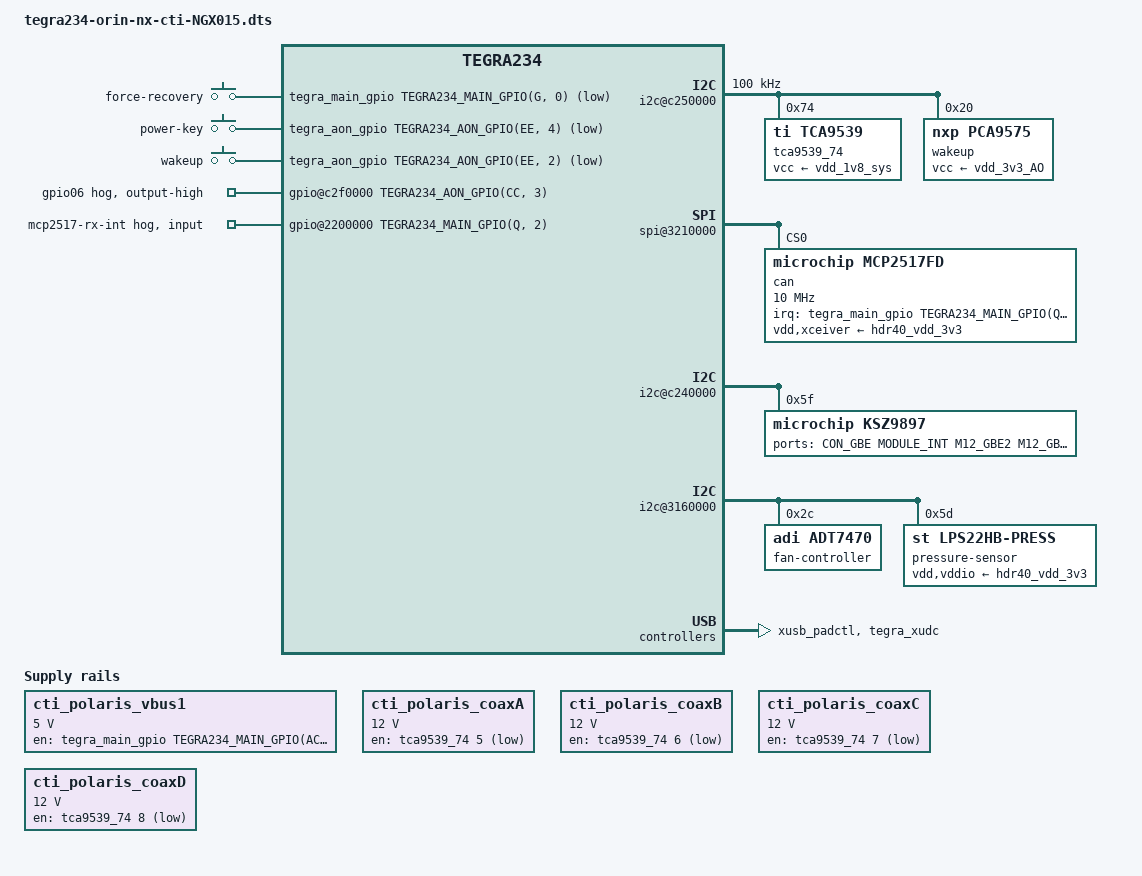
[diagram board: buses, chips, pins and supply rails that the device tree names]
/*
 * Copyright (c) 2023, Connect Tech Inc.  All rights reserved.
 *
 * This program is free software; you can redistribute it and/or modify it
 * under the terms and conditions of the GNU General Public License,
 * version 2, as published by the Free Software Foundation.
 *
 * This program is distributed in the hope it will be useful, but WITHOUT
 * ANY WARRANTY; without even the implied warranty of MERCHANTABILITY or
 * FITNESS FOR A PARTICULAR PURPOSE.  See the GNU General Public License for
 * more details.
 *
 * You should have received a copy of the GNU General Public License
 * along with this program.  If not, see <http://www.gnu.org/licenses/>.
 */

#include "tegra234-orin-nx-cti-base.dtsi"

/{
    nvidia,dtsfilename = "tegra234-orin-nx-cti-NGX015.dts";

    clocks-init {
        status = "okay";
    };
     
    tachometer@39c0000 {
        status = "disabled";
    };
    pwm-fan {
        status = "disabled";
    };
    can_clock: can_clock{
        compatible = "fixed-clock";
        #clock-cells = <0>;
        clock-frequency = <20000000>;
        clock-accuracy = <100>;
    };

    i2c@c250000 {
        status="okay";
        clock-frequency = <100000>;
        tca9539_74: tca9539@74 {
            compatible = "ti,tca9539";
            gpio-controller;
            #gpio-cells = <2>;
            reg = <0x74>;
            vcc-supply = <&vdd_1v8_sys>;
            status = "okay";
         };
        /** define wakeup for gpio10*/
        wakeup: gpio16@20{
                    compatible="nxp,pca9575";
                    status="okay";
                    reg = <0x20>;

                    gpio-controller;
                    #gpio-cells=<2>;
                    #address-cells = <1>;
                    #size-cells=<0>;
                    vcc-supply = <&vdd_3v3_AO>;

        };
    };

    fixed-regulators{
        /delete-node/ cti_usb_vbus;
        cti_polaris_vbus1: regulator@201 {
            compatible = "regulator-fixed";
            reg=<201>;
            regulator-name = "cti-polaris-otg-vbus";
            regulator-min-microvolt = <5000000>;
            regulator-max-microvolt = <5000000>;
            gpio = <&tegra_main_gpio TEGRA234_MAIN_GPIO(AC, 6) 0>;
            enable-active-high;
            regulator-always-on;
        };
        //absense of enable-active-high makes the regulator active-low
        cti_polaris_coaxA:regulator@220 {
            compatible = "regulator-fixed";
            reg=<220>;
            regulator-name = "cti-polaris-coaxA";
            regulator-min-microvolt = <12000000>;
            regulator-max-microvolt = <12000000>;
            gpio = <&tca9539_74 5 GPIO_ACTIVE_LOW>;
        };
        cti_polaris_coaxB:regulator@221 {
            compatible = "regulator-fixed";
            reg=<221>;
            regulator-name = "cti-polaris-coaxB";
            regulator-min-microvolt = <12000000>;
            regulator-max-microvolt = <12000000>;
            gpio = <&tca9539_74 6 GPIO_ACTIVE_LOW>;
        };
        cti_polaris_coaxC:regulator@222 {
            compatible = "regulator-fixed";
            reg=<222>;
            regulator-name = "cti-polaris-coaxC";
            regulator-min-microvolt = <12000000>;
            regulator-max-microvolt = <12000000>;
            gpio = <&tca9539_74 7 GPIO_ACTIVE_LOW>;
        };
        cti_polaris_coaxD:regulator@223 {
            compatible = "regulator-fixed";
            reg=<223>;
            regulator-name = "cti-polaris-coaxD";
            regulator-min-microvolt = <12000000>;
            regulator-max-microvolt = <12000000>;
            gpio = <&tca9539_74 8 GPIO_ACTIVE_LOW>;
        };
    };

    /** configure gpio10 as wakeup*/
    gpio-keys {
        compatible = "gpio-keys";
        gpio-keys,name = "gpio-keys";
        status = "okay";
        forcerecovery {
            label = "force-recovery";
            gpios = <&tegra_main_gpio TEGRA234_MAIN_GPIO(G, 0) GPIO_ACTIVE_LOW>;
            linux,code = <BTN_1>;
        };

        power_key {
            label = "power-key";
            gpios = <&tegra_aon_gpio TEGRA234_AON_GPIO(EE, 4) GPIO_ACTIVE_LOW>;
            linux,code = <KEY_POWER>;
            gpio-key,wakeup;
        };

        wakeup {
            label = "wakeup";
            gpios = <&tegra_aon_gpio TEGRA234_AON_GPIO(EE, 2) GPIO_ACTIVE_LOW>;
            linux,code = <KEY_POWER>;
            gpio-key,wakeup;
        };
    };


    //enable serial connections



    spi@3230000{ /* SPI3 in 40 pin conn */
        status = "disabled";
    };

    mttcan@c310000{
        status = "okay";
    };
    
    //mcp2517
    spi@3210000{ /* SPI1 in 40 pin conn */
        status = "okay";
        /delete-node/ spi@0;
        can@0 {
            status = "okay";
            compatible = "microchip,mcp2517fd";
            reg = <0>;
            clocks = <&can_clock>;
            vdd-supply = <&hdr40_vdd_3v3>;
            xceiver-supply = <&hdr40_vdd_3v3>;
            spi-max-frequency=<10000000>;

            interrupt-parent = <&tegra_main_gpio>;
           interrupts = <TEGRA234_MAIN_GPIO(Q, 2) IRQ_TYPE_LEVEL_LOW>;

        };

    };
/** GPIO06*/
    //Important! serial console and USB and other peripherals won't work without this!
    gpio@c2f0000 {
        gpio06 {
            gpio-hog;
            status="okay";
            output-high;
            gpios=<TEGRA234_AON_GPIO(CC, 3) GPIO_ACTIVE_HIGH>;
            label="gpio06";
        };

    };

    gpio@2200000 {
        mcp2517-rx-int {
            status="okay";
            gpio-hog;
            input;
            gpios=<TEGRA234_MAIN_GPIO(Q, 2) 0>;
            label="mcp2517-rx-int";
        };
    };

    


    /**define KSZ9897 switch i2c-1*/
    i2c@c240000 {
        status = "okay";
        ksz9897@5f{
            compatible = "microchip,ksz9897";
            reg=<0x5f>;
            status="okay";
            ports{
                #address-cells = <1>;
                #size-cells = <0>;

                port@0{
                    reg = <0>;
                    label = "CON_GBE";
                };

                port@1{
                    reg = <1>;
                    label = "MODULE_INT";
                    fixed-link{
                        speed=<1000>;
                        full-duplex;
                    };
                };

                port@2{
                    reg = <2>;
                    label = "M12_GBE2";
                };


                port@3{
                    reg = <3>;
                    label = "M12_GBE3";
                };

            };
        };
    };


    i2c@3160000{
        //Fan controller
        fan-controller@0x2C{
            compatible="adi,adt7470";
            status="okay";
            reg=<0x2c>;
        };

        //pressure sensor
        pressure-sensor@0x5D{
            compatible="st,lps22hb-press";
            reg=<0x5d>;
            status="okay";
            vdd-supply=<&hdr40_vdd_3v3>;
            vddio-supply=<&hdr40_vdd_3v3>;
        };
    };

    xusb_padctl: xusb_padctl@3520000 {
        status = "okay";
        pads {
            usb2 {
                lanes {
                    usb2-0 {
                        nvidia,function = "xusb";
                        vbus-supply = <&cti_polaris_vbus1>;
                        status = "okay";
                    };
                    usb2-1 {
                        nvidia,function = "xusb";
                        status = "okay";
                    };
                    usb2-2 {
                        nvidia,function = "xusb";
                        status = "okay";
                    };
                };
            };
            usb3 {
                lanes {
                    usb3-0 {
                        nvidia,function = "xusb";
                        status = "okay";
                    };
                    usb3-2 {
                        nvidia,function = "xusb";
                        status = "okay";                        
                    };
                };
            };
        };

        ports {
            usb2-0 {
                mode = "otg";
                status = "okay";
                vbus-supply = <&cti_polaris_vbus1>;
                usb-role-switch;
                /delete-node/ connector;
                connector {
                    /* NOTE: PN: While the Physical connector is Type-C we are using the
                     * microUSB driver as the HW uses the older OTG_ID/VBUS_DET gpio
                     * for indicating role switchs
                     */
                    compatible = "gpio-usb-b-connector", "usb-b-connector";
                    label = "micro-USB";
                    type = "micro";
                    vbus-gpios = <&tegra_main_gpio TEGRA234_MAIN_GPIO(Z, 1) GPIO_ACTIVE_HIGH>;
                    id-gpios = <&tegra_main_gpio TEGRA234_MAIN_GPIO(Q, 6) GPIO_ACTIVE_HIGH>;
                };

            };
            usb2-1 {
                mode = "host";
                status = "okay";
            };
            usb2-2 {/* Goes to M2.E */
                mode = "host";
                status = "okay";
            };
            usb3-0 {
                nvidia,usb2-companion = <2>;
                status = "okay";
            };
            usb3-2{
                nvidia,usb2-companion = <1>;
                status = "okay";                
            };
        };
    };
    tegra_xudc: xudc@3550000 {
        status = "okay";
        phys =  <&{/xusb_padctl@3520000/pads/usb2/lanes/usb2-0}>;
        phy-names = "usb2-0";
        nvidia,xusb-padctl = <&xusb_padctl>;
    };


};

